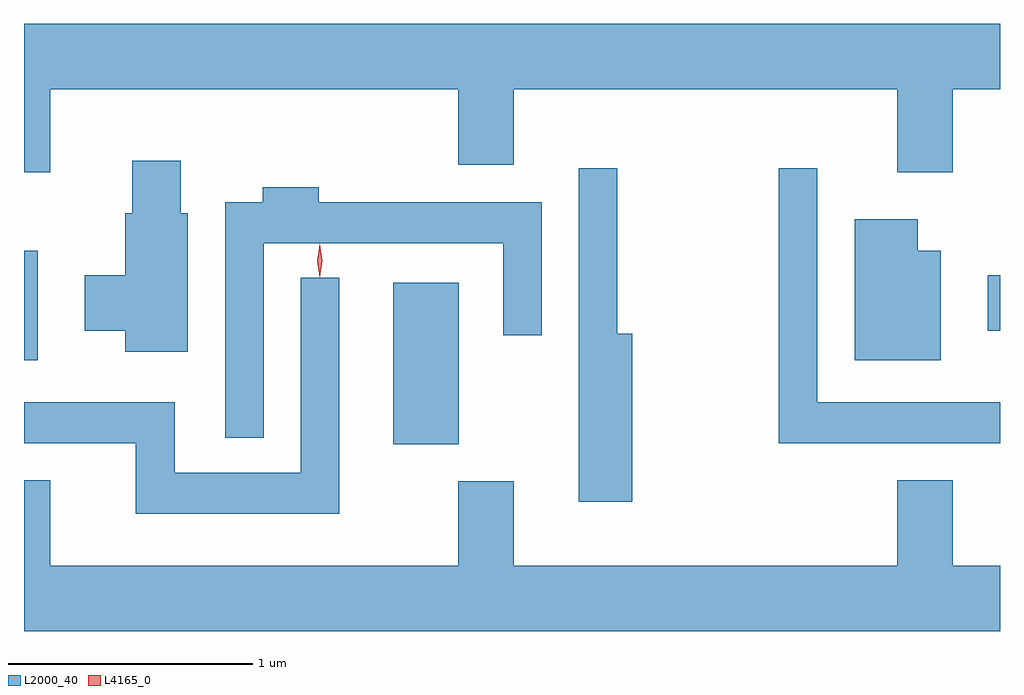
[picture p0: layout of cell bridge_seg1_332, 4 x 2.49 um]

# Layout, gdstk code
import gdstk
lib = gdstk.Library(unit=1e-6, precision=1e-09)
def R(c, l, rs):  # rectangles x0, y0, x1, y1
    for r in rs: c.add(gdstk.rectangle(r[:2], r[2:], *l))
def P(c, l, *ps):  # polygons
    for p in ps: c.add(gdstk.Polygon(p, *l))
L2000_40 = (2000, 40)
L4165_0 = (4165, 0)

bridge_seg1_332 = lib.new_cell('bridge_seg1_332')
R(bridge_seg1_332, L2000_40, [(905.676,880.361,905.944,881.024), (904.162,880.706,904.219,881.154), (908.111,880.826,908.162,881.054)])
P(bridge_seg1_332, L2000_40, [(904.269,881.816),(905.941,881.816),(905.941,881.506),(906.169,881.506),(906.169,881.816),(907.741,881.816),(907.741,881.476),(907.969,881.476),(907.969,881.816),(908.162,881.816),(908.162,882.084),(904.162,882.084),(904.162,881.476),(904.269,881.476)],
  [(904.834,881.309),(904.804,881.309),(904.804,881.524),(904.606,881.524),(904.606,881.309),(904.576,881.309),(904.576,881.054),(904.411,881.054),(904.411,880.826),(904.576,880.826),(904.576,880.741),(904.834,880.741)],
  [(908.162,880.534),(907.414,880.534),(907.414,881.493),(907.256,881.493),(907.256,880.366),(908.162,880.366)],
  [(906.654,880.814),(906.594,880.814),(906.594,881.493),(906.436,881.493),(906.436,880.126),(906.654,880.126)],
  [(905.144,881.186),(906.126,881.186),(906.126,880.808),(906.284,880.808),(906.284,881.354),(905.369,881.354),(905.369,881.414),(905.141,881.414),(905.141,881.354),(904.986,881.354),(904.986,880.388),(905.144,880.388)],
  [(907.919,881.154),(907.824,881.154),(907.824,881.284),(907.566,881.284),(907.566,880.706),(907.919,880.706)],
  [(905.454,881.043),(905.296,881.043),(905.296,880.244),(904.779,880.244),(904.779,880.534),(904.162,880.534),(904.162,880.366),(904.621,880.366),(904.621,880.076),(905.454,880.076)],
  [(908.162,879.864),(907.969,879.864),(907.969,880.214),(907.741,880.214),(907.741,879.864),(906.169,879.864),(906.169,880.209),(905.941,880.209),(905.941,879.864),(904.269,879.864),(904.269,880.214),(904.162,880.214),(904.162,879.596),(908.162,879.596)])
P(bridge_seg1_332, L4165_0, [(905.374,881.047),(905.364,881.114),(905.374,881.18),(905.374,881.18),(905.375,881.18),(905.384,881.114),(905.375,881.047),(905.375,881.047)],
  [(905.374,881.044),(905.365,881.114),(905.374,881.183),(905.375,881.183),(905.375,881.183),(905.385,881.114),(905.375,881.044),(905.375,881.044)])

lib.write_gds('bridge_seg1_332.gds')
